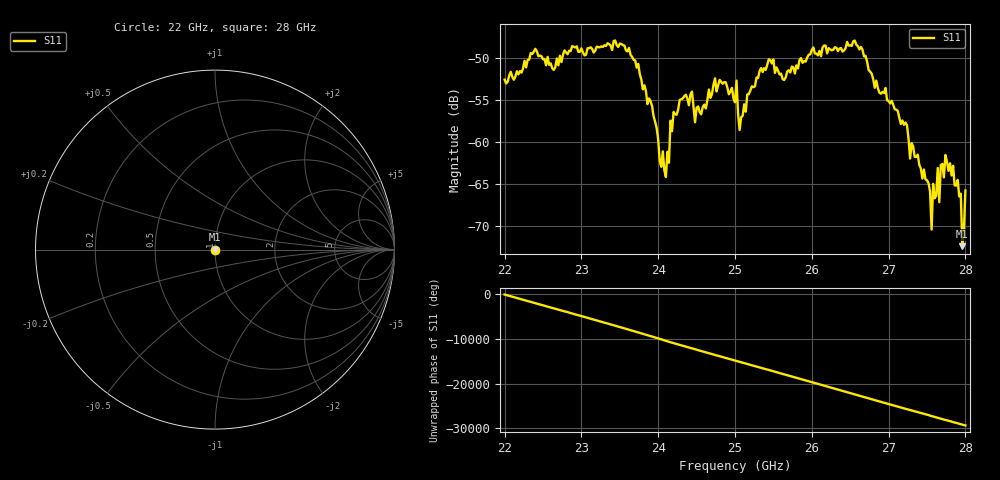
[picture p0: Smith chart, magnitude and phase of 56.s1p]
#  HZ  S  RI  R  50.00
! Rohde & Schwarz ZVA40 4Ports - Version 3.90 - 1145.1110k42 SN: 100403
! Date: 2023-10-04 08:53:26
! Measurement: S12
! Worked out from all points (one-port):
!   301 points, 22 GHz to 28 GHz, reference 50 ohm
!   lowest |S11| = -72.4 dB at 27.96 GHz (marker M1), VSWR 1.00, Z = 50 - j0.0129 ohm
!   |S11| at or under -10 dB: start of sweep to end of sweep
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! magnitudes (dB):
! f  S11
! 22 GHz  -52.6
! 22.76 GHz  -49.6
! 23.5 GHz  -48.3
! 23.74 GHz  -50.7
! 24.1 GHz  -64.1
! 24.14 GHz  -62.4
! 24.16 GHz  -57.4
! 24.26 GHz  -56.1
! 24.44 GHz  -54.0
! 24.48 GHz  -57.6
! 24.74 GHz  -52.4
! 25 GHz  -55.2
! 25.02 GHz  -52.7
! 25.06 GHz  -58.5
! 25.34 GHz  -51.2
! 25.76 GHz  -51.1
! 26.5 GHz  -48.5
! 27.26 GHz  -59.6
! 27.52 GHz  -64.9
! 27.56 GHz  -70.4
! 27.58 GHz  -65.0
! 27.64 GHz  -63.1
! 27.66 GHz  -67.1
! 27.68 GHz  -62.7
! 27.84 GHz  -62.8
! 27.94 GHz  -66.1
! 27.96 GHz  -72.4
! 28 GHz  -65.7
